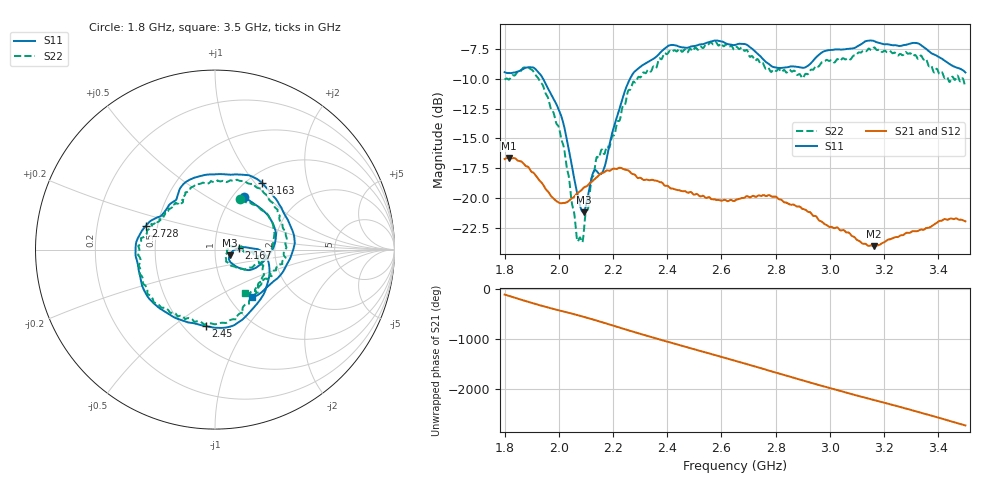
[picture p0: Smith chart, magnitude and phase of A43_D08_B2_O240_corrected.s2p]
! Created with skrf 1.9.0 (http://scikit-rf.org).
# Hz S RI R 50.0
!freq ReS11 ImS11 ReS21 ImS21 ReS12 ImS12 ReS22 ImS22
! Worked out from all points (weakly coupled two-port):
!   1601 points, 1.8 GHz to 3.5 GHz, reference 50 ohm
!   highest |S21| = -16.63 dB at 1.815 GHz (marker M1); lowest = -24.0 dB at 3.161 GHz (marker M2)
!   lowest |S11| = -21.2 dB at 2.091 GHz (marker M3), VSWR 1.19, Z = 58.7 - j3.68 ohm
!   |S11| at or under -10 dB: 1.942 GHz to 2.263 GHz (320.6 MHz wide, 15.2 % of centre)
!   |S22| runs from -23.7 to -6.9 dB; largest |S21 - S12| = 0.0027
!   S11 on the Smith chart (normalised r, x): 1.8 GHz: 1.13, +0.75; 2.167 GHz: 1.30, +0.03; 2.45 GHz: 0.63, -0.66; 2.728 GHz: 0.43, +0.14; 3.163 GHz: 1.16, +1.09; 3.5 GHz: 1.27, -0.76
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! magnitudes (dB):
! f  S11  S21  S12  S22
! 1.8 GHz  -9.4  -16.7  -16.7  -10.1
! 1.815 GHz  -9.5  -16.6  -16.6  -10.1
! 1.887 GHz  -9.0  -17.4  -17.5  -9.0
! 1.942 GHz  -10.0  -18.9  -18.9  -10.6
! 2.013 GHz  -13.4  -20.4  -20.4  -15.3
! 2.066 GHz  -19.4  -19.6  -19.7  -23.3
! 2.084 GHz  -21.0  -19.3  -19.3  -23.6
! 2.091 GHz  -21.2  -19.1  -19.2  -23.1
! 2.135 GHz  -17.6  -18.4  -18.4  -17.1
! 2.167 GHz  -17.5  -17.9  -17.8  -16.3
! 2.26 GHz  -10.1  -17.7  -17.8  -10.9
! 2.367 GHz  -8.0  -18.6  -18.6  -8.4
! 2.45 GHz  -7.3  -19.4  -19.4  -7.6
! 2.65 GHz  -7.2  -20.2  -20.2  -7.5
! 2.728 GHz  -7.8  -19.9  -19.9  -8.4
! 2.8 GHz  -9.1  -19.9  -19.9  -9.3
! 2.934 GHz  -8.6  -21.4  -21.3  -9.2
! 3.161 GHz  -6.8  -24.0  -24.0  -7.4
! 3.163 GHz  -6.8  -24.0  -24.0  -7.4
! 3.217 GHz  -7.1  -23.5  -23.5  -7.7
! 3.325 GHz  -7.0  -22.7  -22.7  -8.3
! 3.5 GHz  -9.5  -21.9  -21.9  -10.6
